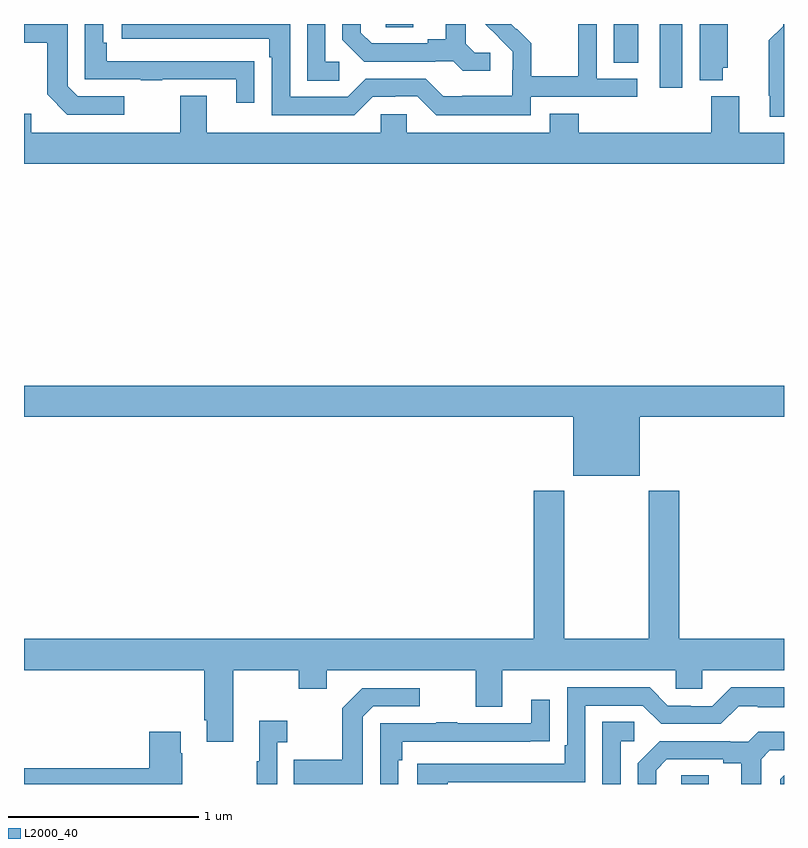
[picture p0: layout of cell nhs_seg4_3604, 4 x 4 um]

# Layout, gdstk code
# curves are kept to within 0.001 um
import gdstk
lib = gdstk.Library(unit=1e-6, precision=1e-09)
def R(c, l, rs):  # rectangles x0, y0, x1, y1
    for r in rs: c.add(gdstk.rectangle(r[:2], r[2:], *l))
def P(c, l, *ps):  # polygons
    for p in ps: c.add(gdstk.Polygon(p, *l))
L2000_40 = (2000, 40)

nhs_seg4_3604 = lib.new_cell('nhs_seg4_3604')
R(nhs_seg4_3604, L2000_40, [(304.458,782.9,304.603,782.945), (304.346,786.564,304.465,786.9), (304.103,786.697,304.234,786.9), (302.904,786.883,303.049,786.9)])
P(nhs_seg4_3604, L2000_40, [(301.528,786.519),(301.284,786.519),(301.23,786.573),(301.23,786.9),(301,786.9),(301,786.802),(301.122,786.802),(301.122,786.529),(301.227,786.423),(301.528,786.423)],
  [(302.213,786.704),(302.111,786.704),(302.111,786.705),(301.436,786.705),(301.436,786.802),(301.416,786.802),(301.416,786.9),(301.32,786.9),(301.32,786.609),(301.615,786.609),(301.615,786.604),(301.727,786.604),(301.727,786.609),(302.117,786.609),(302.117,786.486),(302.213,786.486)],
  [(303.454,786.75),(303.372,786.75),(303.325,786.797),(303.325,786.9),(303.221,786.9),(303.221,786.821),(303.125,786.821),(303.125,786.798),(302.83,786.798),(302.773,786.855),(302.773,786.9),(302.676,786.9),(302.676,786.818),(302.792,786.702),(303.164,786.702),(303.164,786.705),(303.258,786.705),(303.31,786.653),(303.454,786.653)],
  [(304.678,786.669),(304.705,786.669),(304.705,786.9),(304.556,786.9),(304.556,786.605),(304.678,786.605)],
  [(302.659,786.702),(302.586,786.702),(302.586,786.9),(302.49,786.9),(302.49,786.601),(302.659,786.601)],
  [(303.666,786.516),(304.228,786.516),(304.228,786.612),(304.014,786.612),(304.014,786.9),(303.918,786.9),(303.918,786.848),(303.916,786.848),(303.916,786.625),(303.671,786.625),(303.671,786.799),(303.594,786.876),(303.591,786.873),(303.564,786.9),(303.428,786.9),(303.572,786.754),(303.572,786.657),(303.57,786.657),(303.57,786.523),(303.307,786.523),(303.307,786.519),(303.207,786.519),(303.114,786.612),(302.799,786.612),(302.703,786.516),(302.4,786.516),(302.4,786.9),(301.515,786.9),(301.515,786.822),(302.291,786.822),(302.291,786.725),(302.304,786.725),(302.304,786.42),(302.739,786.42),(302.835,786.516),(302.954,786.516),(302.954,786.519),(303.069,786.519),(303.169,786.419),(303.666,786.419)],
  [(305,786.9),(304.995,786.9),(304.995,786.888),(304.921,786.814),(304.921,786.523),(304.925,786.523),(304.925,786.413),(305,786.413)],
  [(305,786.328),(304.765,786.328),(304.765,786.52),(304.618,786.52),(304.618,786.328),(303.92,786.328),(303.92,786.427),(303.767,786.427),(303.767,786.328),(303.015,786.328),(303.015,786.426),(302.877,786.426),(302.877,786.328),(301.963,786.328),(301.963,786.523),(301.823,786.523),(301.823,786.328),(301.039,786.328),(301.039,786.427),(301,786.427),(301,786.164),(305,786.164)],
  [(304.24,784.832),(305,784.832),(305,784.996),(301,784.996),(301,784.832),(303.89,784.832),(303.89,784.523),(304.24,784.523)],
  [(302.101,783.5),(302.446,783.5),(302.446,783.401),(302.593,783.401),(302.593,783.5),(303.377,783.5),(303.377,783.306),(303.517,783.306),(303.517,783.5),(304.431,783.5),(304.431,783.402),(304.569,783.402),(304.569,783.5),(305,783.5),(305,783.664),(304.448,783.664),(304.448,784.444),(304.288,784.444),(304.288,783.664),(303.843,783.664),(303.843,784.444),(303.683,784.444),(303.683,783.664),(301,783.664),(301,783.5),(301.949,783.5),(301.949,783.235),(301.961,783.235),(301.961,783.123),(302.101,783.123)],
  [(303.23,782.91),(303.954,782.91),(303.954,783.312),(304.257,783.312),(304.353,783.216),(304.668,783.216),(304.761,783.309),(304.861,783.309),(304.861,783.305),(305,783.305),(305,783.409),(304.723,783.409),(304.623,783.309),(304.508,783.309),(304.508,783.312),(304.389,783.312),(304.293,783.408),(303.858,783.408),(303.858,783.103),(303.845,783.103),(303.845,783.006),(303.069,783.006),(303.069,782.9),(303.23,782.9)],
  [(302.784,783.255),(302.838,783.309),(303.082,783.309),(303.082,783.405),(302.781,783.405),(302.676,783.299),(302.676,783.027),(302.419,783.027),(302.419,782.9),(302.784,782.9)],
  [(302.97,783.026),(302.99,783.026),(302.99,783.123),(303.665,783.123),(303.665,783.124),(303.767,783.124),(303.767,783.343),(303.671,783.343),(303.671,783.219),(303.281,783.219),(303.281,783.224),(303.169,783.224),(303.169,783.219),(302.874,783.219),(302.874,782.9),(302.97,782.9)],
  [(302.334,783.119),(302.386,783.119),(302.386,783.232),(302.237,783.232),(302.237,783.019),(302.226,783.019),(302.226,782.9),(302.334,782.9)],
  [(304.14,783.126),(304.213,783.126),(304.213,783.227),(304.044,783.227),(304.044,782.9),(304.14,782.9)],
  [(301.833,783.062),(301.825,783.062),(301.825,783.175),(301.658,783.175),(301.658,782.984),(301,782.984),(301,782.9),(301.833,782.9)],
  [(304.327,782.973),(304.384,783.03),(304.679,783.03),(304.679,783.008),(304.775,783.008),(304.775,782.9),(304.879,782.9),(304.879,783.031),(304.926,783.078),(305,783.078),(305,783.175),(304.864,783.175),(304.812,783.123),(304.718,783.123),(304.718,783.126),(304.346,783.126),(304.23,783.01),(304.23,782.9),(304.327,782.9)],
  [(305,782.946),(304.98,782.926),(304.98,782.9),(305,782.9)])

lib.write_gds('nhs_seg4_3604.gds')
